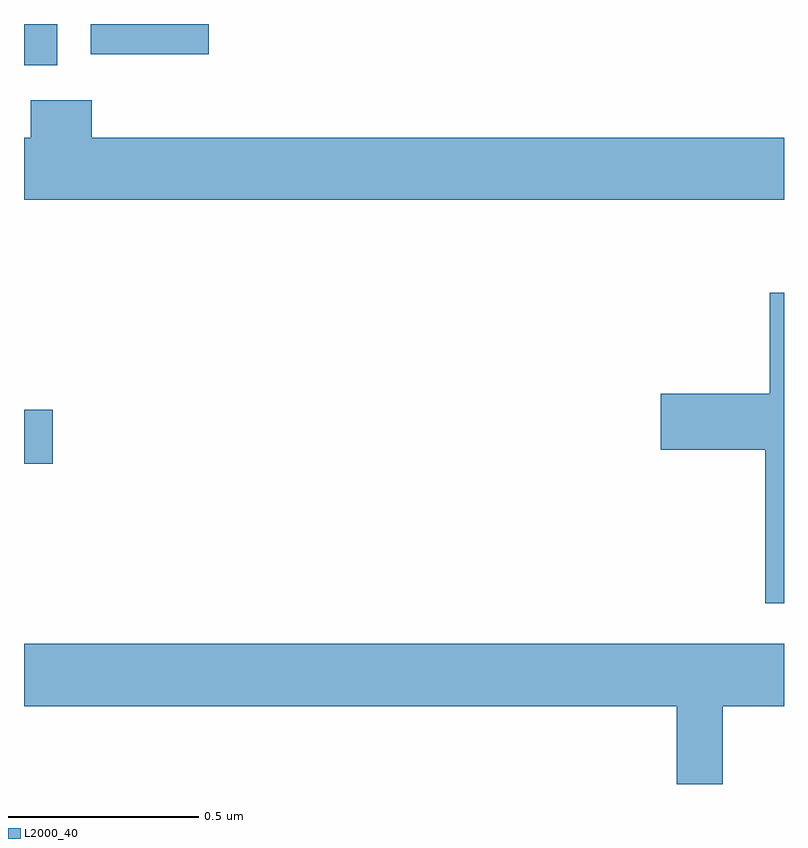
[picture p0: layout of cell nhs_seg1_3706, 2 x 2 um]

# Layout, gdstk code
import gdstk
lib = gdstk.Library(unit=1e-6, precision=1e-09)
def R(c, l, rs):  # rectangles x0, y0, x1, y1
    for r in rs: c.add(gdstk.rectangle(r[:2], r[2:], *l))
def P(c, l, *ps):  # polygons
    for p in ps: c.add(gdstk.Polygon(p, *l))
L2000_40 = (2000, 40)

nhs_seg1_3706 = lib.new_cell('nhs_seg1_3706')
R(nhs_seg1_3706, L2000_40, [(157,547.042,157.075,547.184), (157,548.09,157.087,548.199), (157.176,548.119,157.486,548.199)])
P(nhs_seg1_3706, L2000_40, [(159,547.9),(157.178,547.9),(157.178,547.999),(157.018,547.999),(157.018,547.9),(157,547.9),(157,547.736),(159,547.736)],
  [(159,547.492),(158.963,547.492),(158.963,547.226),(158.676,547.226),(158.676,547.079),(158.951,547.079),(158.951,546.675),(159,546.675)],
  [(158.839,546.404),(159,546.404),(159,546.568),(157,546.568),(157,546.404),(158.718,546.404),(158.718,546.199),(158.839,546.199)])

lib.write_gds('nhs_seg1_3706.gds')
